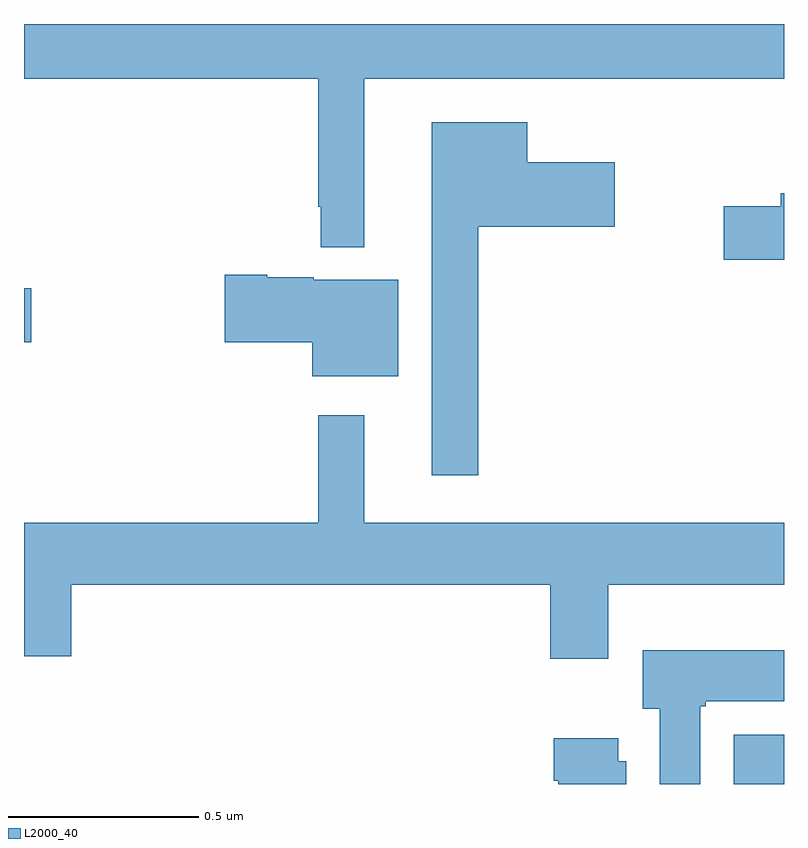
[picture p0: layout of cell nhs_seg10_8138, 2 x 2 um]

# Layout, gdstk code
import gdstk
lib = gdstk.Library(unit=1e-6, precision=1e-09)
def R(c, l, rs):  # rectangles x0, y0, x1, y1
    for r in rs: c.add(gdstk.rectangle(r[:2], r[2:], *l))
def P(c, l, *ps):  # polygons
    for p in ps: c.add(gdstk.Polygon(p, *l))
L2000_40 = (2000, 40)

nhs_seg10_8138 = lib.new_cell('nhs_seg10_8138')
R(nhs_seg10_8138, L2000_40, [(214.868,1258.5,215,1258.63), (213,1259.662,213.019,1259.804)])
P(nhs_seg10_8138, L2000_40, [(213.895,1260.356),(215,1260.356),(215,1260.5),(213,1260.5),(213,1260.356),(213.774,1260.356),(213.774,1260.019),(213.781,1260.019),(213.781,1259.912),(213.895,1259.912)],
  [(214.195,1259.966),(214.555,1259.966),(214.555,1260.136),(214.324,1260.136),(214.324,1260.241),(214.073,1260.241),(214.073,1259.313),(214.195,1259.313)],
  [(215,1260.055),(214.991,1260.055),(214.991,1260.021),(214.842,1260.021),(214.842,1259.879),(215,1259.879)],
  [(213.985,1259.827),(213.762,1259.827),(213.762,1259.833),(213.64,1259.833),(213.64,1259.84),(213.528,1259.84),(213.528,1259.662),(213.758,1259.662),(213.758,1259.573),(213.985,1259.573)],
  [(214.537,1259.024),(215,1259.024),(215,1259.188),(213.895,1259.188),(213.895,1259.47),(213.774,1259.47),(213.774,1259.188),(213,1259.188),(213,1258.836),(213.124,1258.836),(213.124,1259.024),(214.385,1259.024),(214.385,1258.83),(214.537,1258.83)],
  [(214.78,1258.705),(214.794,1258.705),(214.794,1258.718),(215,1258.718),(215,1258.852),(214.628,1258.852),(214.628,1258.698),(214.673,1258.698),(214.673,1258.5),(214.78,1258.5)],
  [(214.585,1258.56),(214.564,1258.56),(214.564,1258.621),(214.394,1258.621),(214.394,1258.508),(214.406,1258.508),(214.406,1258.5),(214.585,1258.5)])

lib.write_gds('nhs_seg10_8138.gds')
